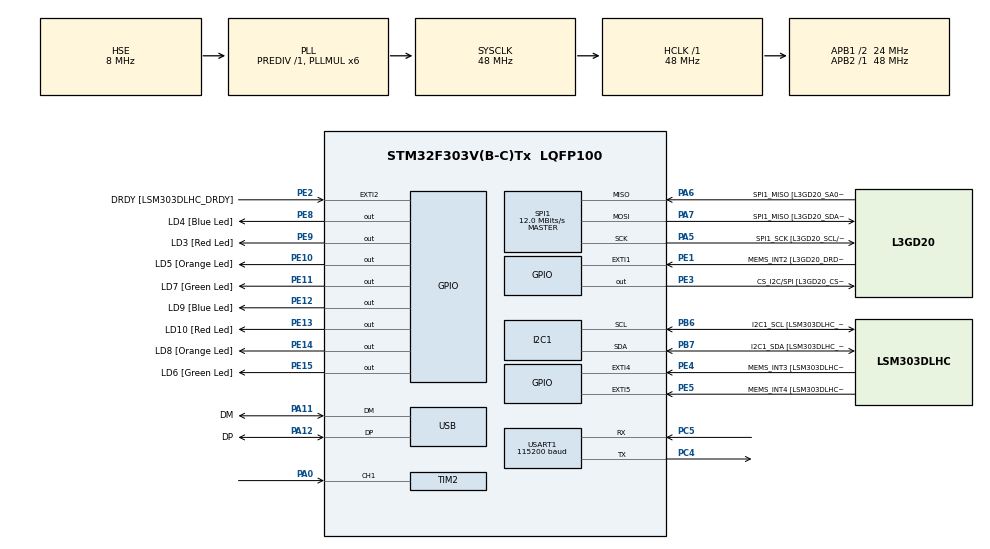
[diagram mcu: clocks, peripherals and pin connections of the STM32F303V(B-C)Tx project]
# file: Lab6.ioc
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I2C1.Timing=0x2000090E
I2C1.Timing-I2C=0x2000090E
Mcu.Family=STM32F3
Mcu.Name=STM32F303V(B-C)Tx
Mcu.Package=LQFP100
NVIC.PriorityGroup=NVIC_PRIORITYGROUP_0
NVIC.TIM2_IRQn=true\:0\:0\:false\:false\:true\:true\:true\:true
PA0.Signal=S_TIM2_CH1_ETR
PA11.GPIO_Label=DM
PA11.Mode=Device
PA11.Signal=USB_DM
PA12.GPIO_Label=DP
PA12.Mode=Device
PA12.Signal=USB_DP
PA13.GPIO_Label=SWDIO
PA13.Mode=Serial_Wire
PA13.Signal=SYS_JTMS-SWDIO
PA14.GPIO_Label=SWCLK
PA14.Mode=Serial_Wire
PA14.Signal=SYS_JTCK-SWCLK
PA5.GPIO_Label=SPI1_SCK [L3GD20_SCL/SPC]
PA5.Mode=Full_Duplex_Master
PA5.Signal=SPI1_SCK
PA6.GPIO_Label=SPI1_MISO [L3GD20_SA0/SDO]
PA6.Mode=Full_Duplex_Master
PA6.Signal=SPI1_MISO
PA7.GPIO_Label=SPI1_MISO [L3GD20_SDA/SDI/SDO]
PA7.Mode=Full_Duplex_Master
PA7.Signal=SPI1_MOSI
PB3.GPIO_Label=SWO
PB3.Signal=SYS_JTDO-TRACESWO
PB6.GPIO_Label=I2C1_SCL [LSM303DLHC_SCL]
PB6.GPIO_Pu=GPIO_PULLUP
PB6.Mode=I2C
PB6.Signal=I2C1_SCL
PB7.GPIO_Label=I2C1_SDA [LSM303DLHC_SDA]
PB7.GPIO_Pu=GPIO_PULLUP
PB7.Mode=I2C
PB7.Signal=I2C1_SDA
PC14-OSC32_IN.GPIO_Label=OSC32_IN
PC14-OSC32_IN.Signal=RCC_OSC32_IN
PC15-OSC32_OUT.GPIO_Label=OSC32_OUT
PC15-OSC32_OUT.Signal=RCC_OSC32_OUT
PC4.Mode=Asynchronous
PC4.Signal=USART1_TX
PC5.Mode=Asynchronous
PC5.Signal=USART1_RX
PE1.GPIO_Label=MEMS_INT2 [L3GD20_DRDY/INT2]
PE1.GPIO_ModeDefaultEXTI=GPIO_MODE_EVT_RISING
PE1.Signal=GPXTI1
PE10.GPIO_Label=LD5 [Orange Led]
PE10.Signal=GPIO_Output
PE11.GPIO_Label=LD7 [Green Led]
PE11.Signal=GPIO_Output
PE12.GPIO_Label=LD9 [Blue Led]
PE12.Signal=GPIO_Output
PE13.GPIO_Label=LD10 [Red Led]
PE13.Signal=GPIO_Output
PE14.GPIO_Label=LD8 [Orange Led]
PE14.Signal=GPIO_Output
PE15.GPIO_Label=LD6 [Green Led]
PE15.Signal=GPIO_Output
PE2.GPIO_Label=DRDY [LSM303DLHC_DRDY]
PE2.GPIO_ModeDefaultEXTI=GPIO_MODE_EVT_RISING
PE2.Signal=GPXTI2
PE3.GPIO_Label=CS_I2C/SPI [L3GD20_CS_I2C/SPI]
PE3.Signal=GPIO_Output
PE4.GPIO_Label=MEMS_INT3 [LSM303DLHC_INT1]
PE4.GPIO_ModeDefaultEXTI=GPIO_MODE_EVT_RISING
PE4.Signal=GPXTI4
PE5.GPIO_Label=MEMS_INT4 [LSM303DLHC_INT2]
PE5.GPIO_ModeDefaultEXTI=GPIO_MODE_EVT_RISING
PE5.Signal=GPXTI5
PE8.GPIO_Label=LD4 [Blue Led]
PE8.Signal=GPIO_Output
PE9.GPIO_Label=LD3 [Red Led]
PE9.Signal=GPIO_Output
PF0-OSC_IN.GPIO_Label=OSC_IN
PF0-OSC_IN.Mode=HSE-External-Clock-Source
PF0-OSC_IN.Signal=RCC_OSC_IN
PF1-OSC_OUT.GPIO_Label=OSC_OUT
PF1-OSC_OUT.Signal=RCC_OSC_OUT
ProjectManager.HeapSize=0x200
ProjectManager.StackSize=0x400
ProjectManager.TargetToolchain=CMake
RCC.AHBFreq_Value=48000000
RCC.APB1CLKDivider=RCC_HCLK_DIV2
RCC.APB1Freq_Value=24000000
RCC.APB1TimFreq_Value=48000000
RCC.APB2Freq_Value=48000000
RCC.APB2TimFreq_Value=48000000
RCC.CortexFreq_Value=48000000
RCC.HCLKFreq_Value=48000000
RCC.HSE_VALUE=8000000
RCC.HSI_VALUE=8000000
RCC.LSE_VALUE=32768
RCC.PLLMUL=RCC_PLL_MUL6
RCC.SYSCLKFreq_VALUE=48000000
RCC.SYSCLKSourceVirtual=RCC_SYSCLKSOURCE_PLLCLK
RCC.USBFreq_Value=48000000
SH.S_TIM2_CH1_ETR.0=TIM2_CH1,Input_Capture1_from_TI1
SPI1.BaudRatePrescaler=SPI_BAUDRATEPRESCALER_4
SPI1.BaudRatePrescaler-Full_Duplex_Master=SPI_BAUDRATEPRESCALER_2
SPI1.CalculateBaudRate=12.0 MBits/s
SPI1.CalculateBaudRate-Full_Duplex_Master=24.0 MBits/s
SPI1.Direction=SPI_DIRECTION_2LINES
SPI1.Mode=SPI_MODE_MASTER
SPI1.Mode-Full_Duplex_Master=SPI_MODE_MASTER
SPI1.VirtualType=VM_MASTER
TIM2.Channel-Input_Capture1_from_TI1=TIM_CHANNEL_1
TIM2.Prescaler=71
USART1.BaudRate=115200
USART1.VirtualMode-Asynchronous=VM_ASYNC
VP_TIM2_VS_ClockSourceINT.Mode=Internal
board=STM32F3DISCOVERY

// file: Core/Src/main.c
/* USER CODE BEGIN Header */
/**
  ******************************************************************************
  * @file           : main.c
  * @brief          : Main program body
  ******************************************************************************
  * @attention
  *
  * Copyright (c) 2026 STMicroelectronics.
  * All rights reserved.
  *
  * This software is licensed under terms that can be found in the LICENSE file
  * in the root directory of this software component.
  * If no LICENSE file comes with this software, it is provided AS-IS.
  *
  ******************************************************************************
  */
/* USER CODE END Header */
#include "main.h"

/* USER CODE BEGIN Includes */
#include <stdio.h>
#include <string.h>
#include <stdint.h>
/* USER CODE END Includes */

I2C_HandleTypeDef hi2c1;

SPI_HandleTypeDef hspi1;

TIM_HandleTypeDef htim2;

UART_HandleTypeDef huart1;

PCD_HandleTypeDef hpcd_USB_FS;

/* USER CODE BEGIN PV */

float frequency = 0;
/* USER CODE END PV */

void SystemClock_Config(void);
static void MX_GPIO_Init(void);
static void MX_I2C1_Init(void);
static void MX_SPI1_Init(void);
static void MX_TIM2_Init(void);
static void MX_USART1_UART_Init(void);
static void MX_USB_PCD_Init(void);

/* USER CODE BEGIN 0 */
int __io_putchar(int ch)
{
    HAL_UART_Transmit(&huart1, (uint8_t *)&ch, 1, HAL_MAX_DELAY);
    return ch;
}
/* USER CODE END 0 */

int main(void)
{

  /* MCU Configuration--------------------------------------------------------*/

  /* Reset of all peripherals, Initializes the Flash interface and the Systick. */
  HAL_Init();

  /* Configure the system clock */
  SystemClock_Config();

  /* Initialize all configured peripherals */
  MX_GPIO_Init();
  MX_I2C1_Init();
  MX_SPI1_Init();
  MX_TIM2_Init();
  MX_USART1_UART_Init();
  MX_USB_PCD_Init();
  /* USER CODE BEGIN 2 */
  HAL_TIM_IC_Start_IT(&htim2, TIM_CHANNEL_1);
  /* USER CODE END 2 */

  /* Infinite loop */
  /* USER CODE BEGIN WHILE */
  while (1)
{
    printf("Frequency: %.2f Hz\r\n", frequency);
    HAL_Delay(500);
    /* USER CODE END WHILE */

  }
}

void SystemClock_Config(void)
{
  RCC_OscInitTypeDef RCC_OscInitStruct = {0};
  RCC_ClkInitTypeDef RCC_ClkInitStruct = {0};
  RCC_PeriphCLKInitTypeDef PeriphClkInit = {0};

  /** Initializes the RCC Oscillators according to the specified parameters
  * in the RCC_OscInitTypeDef structure.
  */
  RCC_OscInitStruct.OscillatorType = RCC_OSCILLATORTYPE_HSI|RCC_OSCILLATORTYPE_HSE;
  RCC_OscInitStruct.HSEState = RCC_HSE_BYPASS;
  RCC_OscInitStruct.HSEPredivValue = RCC_HSE_PREDIV_DIV1;
  RCC_OscInitStruct.HSIState = RCC_HSI_ON;
  RCC_OscInitStruct.HSICalibrationValue = RCC_HSICALIBRATION_DEFAULT;
  RCC_OscInitStruct.PLL.PLLState = RCC_PLL_ON;
  RCC_OscInitStruct.PLL.PLLSource = RCC_PLLSOURCE_HSE;
  RCC_OscInitStruct.PLL.PLLMUL = RCC_PLL_MUL6;
  if (HAL_RCC_OscConfig(&RCC_OscInitStruct) != HAL_OK)
  {
    Error_Handler();
  }

  /** Initializes the CPU, AHB and APB buses clocks
  */
  RCC_ClkInitStruct.ClockType = RCC_CLOCKTYPE_HCLK|RCC_CLOCKTYPE_SYSCLK
                              |RCC_CLOCKTYPE_PCLK1|RCC_CLOCKTYPE_PCLK2;
  RCC_ClkInitStruct.SYSCLKSource = RCC_SYSCLKSOURCE_PLLCLK;
  RCC_ClkInitStruct.AHBCLKDivider = RCC_SYSCLK_DIV1;
  RCC_ClkInitStruct.APB1CLKDivider = RCC_HCLK_DIV2;
  RCC_ClkInitStruct.APB2CLKDivider = RCC_HCLK_DIV1;

  if (HAL_RCC_ClockConfig(&RCC_ClkInitStruct, FLASH_LATENCY_1) != HAL_OK)
  {
    Error_Handler();
  }
  PeriphClkInit.PeriphClockSelection = RCC_PERIPHCLK_USB|RCC_PERIPHCLK_USART1
                              |RCC_PERIPHCLK_I2C1;
  PeriphClkInit.Usart1ClockSelection = RCC_USART1CLKSOURCE_PCLK2;
  PeriphClkInit.I2c1ClockSelection = RCC_I2C1CLKSOURCE_HSI;
  PeriphClkInit.USBClockSelection = RCC_USBCLKSOURCE_PLL;
  if (HAL_RCCEx_PeriphCLKConfig(&PeriphClkInit) != HAL_OK)
  {
    Error_Handler();
  }
}

static void MX_I2C1_Init(void)
{

  hi2c1.Instance = I2C1;
  hi2c1.Init.Timing = 0x2000090E;
  hi2c1.Init.OwnAddress1 = 0;
  hi2c1.Init.AddressingMode = I2C_ADDRESSINGMODE_7BIT;
  hi2c1.Init.DualAddressMode = I2C_DUALADDRESS_DISABLE;
  hi2c1.Init.OwnAddress2 = 0;
  hi2c1.Init.OwnAddress2Masks = I2C_OA2_NOMASK;
  hi2c1.Init.GeneralCallMode = I2C_GENERALCALL_DISABLE;
  hi2c1.Init.NoStretchMode = I2C_NOSTRETCH_DISABLE;
  if (HAL_I2C_Init(&hi2c1) != HAL_OK)
  {
    Error_Handler();
  }

  /** Configure Analogue filter
  */
  if (HAL_I2CEx_ConfigAnalogFilter(&hi2c1, I2C_ANALOGFILTER_ENABLE) != HAL_OK)
  {
    Error_Handler();
  }

  /** Configure Digital filter
  */
  if (HAL_I2CEx_ConfigDigitalFilter(&hi2c1, 0) != HAL_OK)
  {
    Error_Handler();
  }

}

static void MX_SPI1_Init(void)
{

  /* SPI1 parameter configuration*/
  hspi1.Instance = SPI1;
  hspi1.Init.Mode = SPI_MODE_MASTER;
  hspi1.Init.Direction = SPI_DIRECTION_2LINES;
  hspi1.Init.DataSize = SPI_DATASIZE_4BIT;
  hspi1.Init.CLKPolarity = SPI_POLARITY_LOW;
  hspi1.Init.CLKPhase = SPI_PHASE_1EDGE;
  hspi1.Init.NSS = SPI_NSS_SOFT;
  hspi1.Init.BaudRatePrescaler = SPI_BAUDRATEPRESCALER_4;
  hspi1.Init.FirstBit = SPI_FIRSTBIT_MSB;
  hspi1.Init.TIMode = SPI_TIMODE_DISABLE;
  hspi1.Init.CRCCalculation = SPI_CRCCALCULATION_DISABLE;
  hspi1.Init.CRCPolynomial = 7;
  hspi1.Init.CRCLength = SPI_CRC_LENGTH_DATASIZE;
  hspi1.Init.NSSPMode = SPI_NSS_PULSE_ENABLE;
  if (HAL_SPI_Init(&hspi1) != HAL_OK)
  {
    Error_Handler();
  }

}

static void MX_TIM2_Init(void)
{

  TIM_ClockConfigTypeDef sClockSourceConfig = {0};
  TIM_MasterConfigTypeDef sMasterConfig = {0};
  TIM_IC_InitTypeDef sConfigIC = {0};

  htim2.Instance = TIM2;
  htim2.Init.Prescaler = 9;
  htim2.Init.CounterMode = TIM_COUNTERMODE_UP;
  htim2.Init.Period = 4294967295;
  htim2.Init.ClockDivision = TIM_CLOCKDIVISION_DIV1;
  htim2.Init.AutoReloadPreload = TIM_AUTORELOAD_PRELOAD_DISABLE;
  if (HAL_TIM_Base_Init(&htim2) != HAL_OK)
  {
    Error_Handler();
  }
  sClockSourceConfig.ClockSource = TIM_CLOCKSOURCE_INTERNAL;
  if (HAL_TIM_ConfigClockSource(&htim2, &sClockSourceConfig) != HAL_OK)
  {
    Error_Handler();
  }
  if (HAL_TIM_IC_Init(&htim2) != HAL_OK)
  {
    Error_Handler();
  }
  sMasterConfig.MasterOutputTrigger = TIM_TRGO_RESET;
  sMasterConfig.MasterSlaveMode = TIM_MASTERSLAVEMODE_DISABLE;
  if (HAL_TIMEx_MasterConfigSynchronization(&htim2, &sMasterConfig) != HAL_OK)
  {
    Error_Handler();
  }
  sConfigIC.ICPolarity = TIM_INPUTCHANNELPOLARITY_RISING;
  sConfigIC.ICSelection = TIM_ICSELECTION_DIRECTTI;
  sConfigIC.ICPrescaler = TIM_ICPSC_DIV1;
  sConfigIC.ICFilter = 0;
  if (HAL_TIM_IC_ConfigChannel(&htim2, &sConfigIC, TIM_CHANNEL_1) != HAL_OK)
  {
    Error_Handler();
  }

}

static void MX_USART1_UART_Init(void)
{

  huart1.Instance = USART1;
  huart1.Init.BaudRate = 115200;
  huart1.Init.WordLength = UART_WORDLENGTH_8B;
  huart1.Init.StopBits = UART_STOPBITS_1;
  huart1.Init.Parity = UART_PARITY_NONE;
  huart1.Init.Mode = UART_MODE_TX_RX;
  huart1.Init.HwFlowCtl = UART_HWCONTROL_NONE;
  huart1.Init.OverSampling = UART_OVERSAMPLING_16;
  huart1.Init.OneBitSampling = UART_ONE_BIT_SAMPLE_DISABLE;
  huart1.AdvancedInit.AdvFeatureInit = UART_ADVFEATURE_NO_INIT;
  if (HAL_UART_Init(&huart1) != HAL_OK)
  {
    Error_Handler();
  }

}

static void MX_USB_PCD_Init(void)
{

  hpcd_USB_FS.Instance = USB;
  hpcd_USB_FS.Init.dev_endpoints = 8;
  hpcd_USB_FS.Init.speed = PCD_SPEED_FULL;
  hpcd_USB_FS.Init.phy_itface = PCD_PHY_EMBEDDED;
  hpcd_USB_FS.Init.low_power_enable = DISABLE;
  hpcd_USB_FS.Init.battery_charging_enable = DISABLE;
  if (HAL_PCD_Init(&hpcd_USB_FS) != HAL_OK)
  {
    Error_Handler();
  }

}

static void MX_GPIO_Init(void)
{
  GPIO_InitTypeDef GPIO_InitStruct = {0};

  /* GPIO Ports Clock Enable */
  __HAL_RCC_GPIOE_CLK_ENABLE();
  __HAL_RCC_GPIOC_CLK_ENABLE();
  __HAL_RCC_GPIOF_CLK_ENABLE();
  __HAL_RCC_GPIOA_CLK_ENABLE();
  __HAL_RCC_GPIOD_CLK_ENABLE();
  __HAL_RCC_GPIOB_CLK_ENABLE();

  /*Configure GPIO pin Output Level */
  HAL_GPIO_WritePin(GPIOE, CS_I2C_SPI_Pin|LD4_Pin|LD3_Pin|LD5_Pin
                          |LD7_Pin|LD9_Pin|LD10_Pin|LD8_Pin
                          |LD6_Pin, GPIO_PIN_RESET);

  /*Configure GPIO pins : DRDY_Pin MEMS_INT3_Pin MEMS_INT4_Pin MEMS_INT2_Pin */
  GPIO_InitStruct.Pin = DRDY_Pin|MEMS_INT3_Pin|MEMS_INT4_Pin|MEMS_INT2_Pin;
  GPIO_InitStruct.Mode = GPIO_MODE_EVT_RISING;
  GPIO_InitStruct.Pull = GPIO_NOPULL;
  HAL_GPIO_Init(GPIOE, &GPIO_InitStruct);

  /*Configure GPIO pins : CS_I2C_SPI_Pin LD4_Pin LD3_Pin LD5_Pin
                           LD7_Pin LD9_Pin LD10_Pin LD8_Pin
                           LD6_Pin */
  GPIO_InitStruct.Pin = CS_I2C_SPI_Pin|LD4_Pin|LD3_Pin|LD5_Pin
                          |LD7_Pin|LD9_Pin|LD10_Pin|LD8_Pin
                          |LD6_Pin;
  GPIO_InitStruct.Mode = GPIO_MODE_OUTPUT_PP;
  GPIO_InitStruct.Pull = GPIO_NOPULL;
  GPIO_InitStruct.Speed = GPIO_SPEED_FREQ_LOW;
  HAL_GPIO_Init(GPIOE, &GPIO_InitStruct);

}

/* USER CODE BEGIN 4 */

uint32_t ic_val1 = 0;
uint32_t ic_val2 = 0;
uint32_t diff = 0;
uint8_t is_first = 0;

void HAL_TIM_IC_CaptureCallback(TIM_HandleTypeDef *htim)
{
    if (htim->Channel == HAL_TIM_ACTIVE_CHANNEL_1)
    {
        if (is_first == 0)
        {
            ic_val1 = HAL_TIM_ReadCapturedValue(htim, TIM_CHANNEL_1);
            is_first = 1;
        }
        else
        {
            ic_val2 = HAL_TIM_ReadCapturedValue(htim, TIM_CHANNEL_1);

            if (ic_val2 > ic_val1)
                diff = ic_val2 - ic_val1;
            else
                diff = (0xFFFFFFFF - ic_val1) + ic_val2;

            frequency = 4800000.0 / diff;

            is_first = 0;
        }
    }
}

/* USER CODE END 4 */

void Error_Handler(void)
{
  __disable_irq();
  while (1)
  {
  }
}
